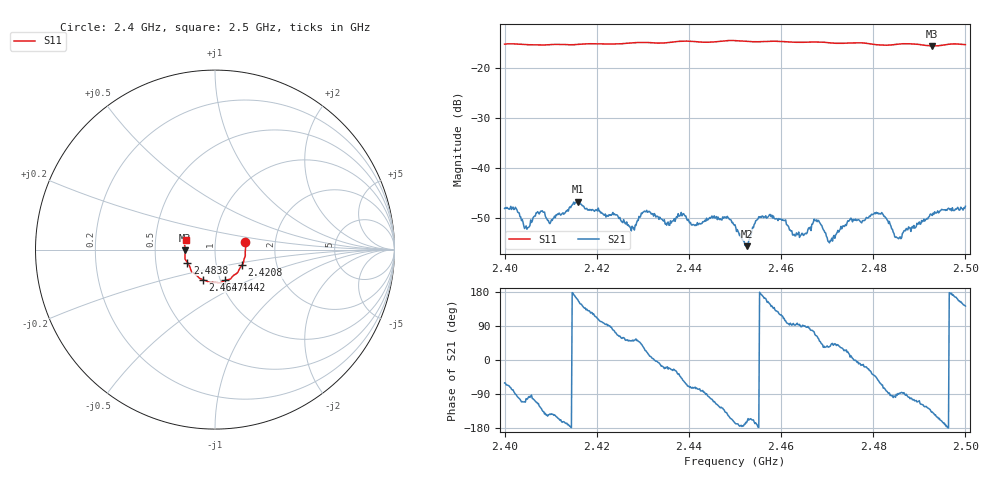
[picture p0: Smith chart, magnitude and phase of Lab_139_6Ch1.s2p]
# Hz S RI R
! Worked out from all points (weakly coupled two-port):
!   601 points, 2.4 GHz to 2.5 GHz, reference 50 ohm
!   highest |S21| = -46.75 dB at 2.4158 GHz (marker M1); lowest = -55.7 dB at 2.4525 GHz (marker M2)
!   lowest |S11| = -15.6 dB at 2.4928 GHz (marker M3), VSWR 1.40, Z = 35.8 - j0.339 ohm
!   |S11| at or under -10 dB: start of sweep to end of sweep
!   S12 and S22 are empty: the file has one direction only
!   S11 on the Smith chart (normalised r, x): 2.4 GHz: 1.40, +0.12; 2.4208 GHz: 1.33, -0.24; 2.4442 GHz: 1.05, -0.37; 2.4647 GHz: 0.83, -0.29; 2.4838 GHz: 0.73, -0.11; 2.5 GHz: 0.72, +0.08
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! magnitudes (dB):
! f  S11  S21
! 2.4 GHz  -15.3  -48.1
! 2.4048 GHz  -15.4  -52.3
! 2.4073 GHz  -15.4  -49.0
! 2.4158 GHz  -15.3  -46.8
! 2.4167 GHz  -15.2  -47.3
! 2.4208 GHz  -15.2  -49.0
! 2.4277 GHz  -15.0  -51.7
! 2.4303 GHz  -14.9  -48.7
! 2.4333 GHz  -15.0  -49.8
! 2.4442 GHz  -14.9  -50.4
! 2.45 GHz  -14.5  -51.4
! 2.4525 GHz  -14.7  -55.7
! 2.4557 GHz  -14.8  -49.9
! 2.4647 GHz  -14.9  -53.1
! 2.4667 GHz  -14.8  -51.3
! 2.4707 GHz  -15.0  -54.5
! 2.4748 GHz  -15.0  -50.5
! 2.4833 GHz  -15.5  -51.1
! 2.4838 GHz  -15.4  -51.6
! 2.4857 GHz  -15.2  -54.0
! 2.4928 GHz  -15.6  -49.5
! 2.5 GHz  -15.4  -47.7
